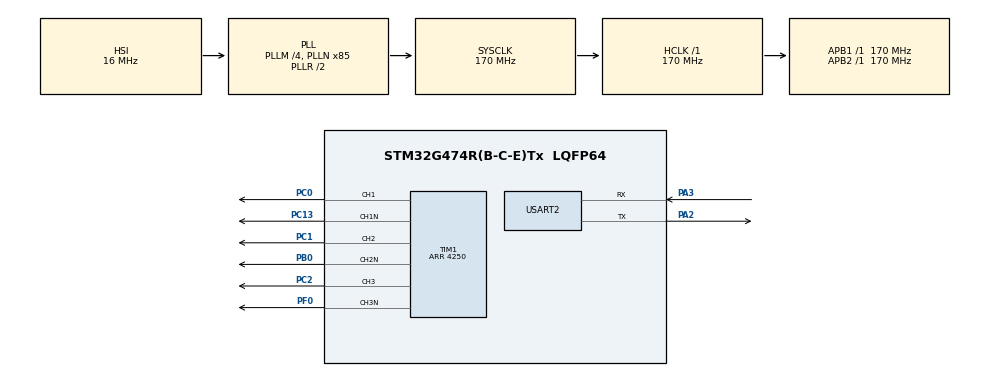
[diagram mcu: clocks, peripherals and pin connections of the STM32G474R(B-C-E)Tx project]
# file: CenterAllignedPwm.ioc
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Mcu.Family=STM32G4
Mcu.Name=STM32G474R(B-C-E)Tx
Mcu.Package=LQFP64
NVIC.PriorityGroup=NVIC_PRIORITYGROUP_4
NVIC.USART2_IRQn=true\:0\:0\:false\:false\:true\:true\:true\:true
PA2.Mode=Asynchronous
PA2.Signal=USART2_TX
PA3.Mode=Asynchronous
PA3.Signal=USART2_RX
PB0.Mode=PWM Generation2 CH2 CH2N
PB0.Signal=TIM1_CH2N
PC0.Signal=S_TIM1_CH1
PC1.Signal=S_TIM1_CH2
PC13.Mode=PWM Generation1 CH1 CH1N
PC13.Signal=TIM1_CH1N
PC2.Signal=S_TIM1_CH3
PF0-OSC_IN.Mode=PWM Generation3 CH3 CH3N
PF0-OSC_IN.Signal=TIM1_CH3N
ProjectManager.HeapSize=0x200
ProjectManager.StackSize=0x400
ProjectManager.TargetToolchain=STM32CubeIDE
RCC.ADC12Freq_Value=170000000
RCC.ADC345Freq_Value=170000000
RCC.AHBFreq_Value=170000000
RCC.APB1Freq_Value=170000000
RCC.APB1TimFreq_Value=170000000
RCC.APB2Freq_Value=170000000
RCC.APB2TimFreq_Value=170000000
RCC.CortexFreq_Value=170000000
RCC.EXTERNAL_CLOCK_VALUE=12288000
RCC.HCLKFreq_Value=170000000
RCC.HSE_VALUE=8000000
RCC.HSI48_VALUE=48000000
RCC.HSI_VALUE=16000000
RCC.LSE_VALUE=32768
RCC.PLLM=RCC_PLLM_DIV4
RCC.PLLN=85
RCC.SYSCLKFreq_VALUE=170000000
RCC.SYSCLKSource=RCC_SYSCLKSOURCE_PLLCLK
RCC.USBFreq_Value=170000000
RCC.VCOOutputFreq_Value=340000000
SH.S_TIM1_CH1.0=TIM1_CH1,PWM Generation1 CH1 CH1N
SH.S_TIM1_CH2.0=TIM1_CH2,PWM Generation2 CH2 CH2N
SH.S_TIM1_CH3.0=TIM1_CH3,PWM Generation3 CH3 CH3N
TIM1.AsymmetricalDeadTime=DISABLE
TIM1.AutoReloadPreload=TIM_AUTORELOAD_PRELOAD_ENABLE
TIM1.AutomaticOutput=TIM_AUTOMATICOUTPUT_ENABLE
TIM1.Channel-PWM\ Generation1\ CH1\ CH1N=TIM_CHANNEL_1
TIM1.Channel-PWM\ Generation2\ CH2\ CH2N=TIM_CHANNEL_2
TIM1.Channel-PWM\ Generation3\ CH3\ CH3N=TIM_CHANNEL_3
TIM1.CounterMode=TIM_COUNTERMODE_CENTERALIGNED1
TIM1.DeadTime=255
TIM1.OffStateRunMode=TIM_OSSR_ENABLE
TIM1.PeriodNoDither=4250
USART2.VirtualMode-Asynchronous=VM_ASYNC
VP_SYS_VS_DBSignals.Mode=DisableDeadBatterySignals
board=custom

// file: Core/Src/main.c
/* USER CODE BEGIN Header */
/**
  ******************************************************************************
  * @file           : main.c
  * @brief          : Main program body - FIXED VERSION
  ******************************************************************************
  */
/* USER CODE END Header */
#include "main.h"
#include <stdio.h>
#include <string.h>
#include <stdlib.h>

TIM_HandleTypeDef htim1;
UART_HandleTypeDef huart2;

/* USER CODE BEGIN PV */
uint8_t rx_buffer[1];
uint32_t DUTY_X10 = 500;      // 500 = %50.0
uint32_t FREQ = 20000;        // Frequency (Hz)
char json_buffer[256];         // Increased buffer size
char cmd_buffer[32];           // Command buffer
uint8_t cmd_index = 0;
uint32_t last_update_time = 0;

#define SYSCLK_HZ       170000000UL
#define DEADTIME_VALUE  255
#define UPDATE_INTERVAL 100     // Update every 100ms

/* USER CODE END PV */

void SystemClock_Config(void);
static void MX_GPIO_Init(void);
static void MX_TIM1_Init(void);
static void MX_USART2_UART_Init(void);
/* USER CODE BEGIN PFP */
void UpdatePWM(void);
void SendStatusJSON(void);
/* USER CODE END PFP */

int main(void)
{

  /* MCU Configuration--------------------------------------------------------*/

  /* Reset of all peripherals, Initializes the Flash interface and the Systick. */
  HAL_Init();

  /* Configure the system clock */
  SystemClock_Config();

  /* Initialize all configured peripherals */
  MX_GPIO_Init();
  MX_TIM1_Init();
  MX_USART2_UART_Init();

  /* USER CODE BEGIN 2 */
  // Start PWM channels
  HAL_TIM_PWM_Start(&htim1, TIM_CHANNEL_1);
  HAL_TIMEx_PWMN_Start(&htim1, TIM_CHANNEL_1);
  HAL_TIM_PWM_Start(&htim1, TIM_CHANNEL_2);
  HAL_TIMEx_PWMN_Start(&htim1, TIM_CHANNEL_2);
  HAL_TIM_PWM_Start(&htim1, TIM_CHANNEL_3);
  HAL_TIMEx_PWMN_Start(&htim1, TIM_CHANNEL_3);

  // Start UART interrupt reception
  HAL_UART_Receive_IT(&huart2, rx_buffer, 1);

  // Initialize PWM values
  UpdatePWM();

  // Send initial status
  HAL_Delay(500);  // Wait for serial connection
  SendStatusJSON();

  /* USER CODE END 2 */

  /* Infinite loop */
  /* USER CODE BEGIN WHILE */
  while (1)
  {
    uint32_t current_time = HAL_GetTick();

    // Send status every UPDATE_INTERVAL ms
    if (current_time - last_update_time >= UPDATE_INTERVAL) {
      SendStatusJSON();
      last_update_time = current_time;
    }

    HAL_Delay(10);  // Small delay to prevent overwhelming the CPU
    /* USER CODE END WHILE */

  }
}

/* USER CODE BEGIN 4 */

// Update PWM parameters
void UpdatePWM(void) {
    uint32_t period = (SYSCLK_HZ / (2 * FREQ)) - 1;
    uint32_t pulse = (DUTY_X10 * period) / 1000;  // % = DUTY_X10 / 10

    __HAL_TIM_SET_AUTORELOAD(&htim1, period);
    __HAL_TIM_SET_COMPARE(&htim1, TIM_CHANNEL_1, pulse);
    __HAL_TIM_SET_COMPARE(&htim1, TIM_CHANNEL_2, pulse);
    __HAL_TIM_SET_COMPARE(&htim1, TIM_CHANNEL_3, pulse);
}

// Send status as JSON
void SendStatusJSON(void) {
    uint32_t period = (SYSCLK_HZ / (2 * FREQ)) - 1;
    uint32_t ccr = (DUTY_X10 * period) / 1000;
    uint32_t duty_percent = DUTY_X10 / 10;  // Convert to percentage

    // Create JSON string - FIXED FORMAT
    int len = snprintf(json_buffer, sizeof(json_buffer),
                      "{\"ch1\":%lu,\"ch2\":%lu,\"ch3\":%lu,\"freq\":%lu,\"arr\":%lu,\"ccr\":%lu}\n",
                      duty_percent, duty_percent, duty_percent, FREQ, period, ccr);

    if (len > 0 && len < sizeof(json_buffer)) {
        HAL_UART_Transmit(&huart2, (uint8_t*)json_buffer, len, 1000);
    }
}

// UART RX Complete Callback - FIXED COMMAND PARSING
void HAL_UART_RxCpltCallback(UART_HandleTypeDef *huart)
{
    if (huart == &huart2) {
        char c = rx_buffer[0];

        // Start of new command
        if (c == 'D' || c == 'F' || c == 'd' || c == 'f') {
            cmd_index = 0;
            cmd_buffer[cmd_index++] = c;
        }
        // Digit
        else if (c >= '0' && c <= '9') {
            if (cmd_index < sizeof(cmd_buffer) - 1) {
                cmd_buffer[cmd_index++] = c;
            }
        }
        // End of command
        else if (c == '\n' || c == '\r') {
            if (cmd_index > 0) {
                cmd_buffer[cmd_index] = '\0';

                // Process command
                char cmd_type = cmd_buffer[0];
                uint32_t value = (uint32_t)strtol(cmd_buffer + 1, NULL, 10);

                if (cmd_type == 'D' || cmd_type == 'd') {
                    // Duty cycle command: D500 = 50.0%
                    if (value <= 1000) {  // Max 100.0%
                        DUTY_X10 = value;
                        UpdatePWM();
                        SendStatusJSON();  // Send immediate feedback
                    }
                }
                else if (cmd_type == 'F' || cmd_type == 'f') {
                    // Frequency command: F20000 = 20kHz
                    if (value >= 100 && value <= 50000) {
                        FREQ = value;
                        UpdatePWM();
                        SendStatusJSON();  // Send immediate feedback
                    }
                }

                cmd_index = 0;  // Reset for next command
            }
        }

        // Continue receiving
        HAL_UART_Receive_IT(&huart2, rx_buffer, 1);
    }
}

/* USER CODE END 4 */

void SystemClock_Config(void)
{
  RCC_OscInitTypeDef RCC_OscInitStruct = {0};
  RCC_ClkInitTypeDef RCC_ClkInitStruct = {0};

  /** Configure the main internal regulator output voltage
  */
  HAL_PWREx_ControlVoltageScaling(PWR_REGULATOR_VOLTAGE_SCALE1_BOOST);

  /** Initializes the RCC Oscillators according to the specified parameters
  * in the RCC_OscInitTypeDef structure.
  */
  RCC_OscInitStruct.OscillatorType = RCC_OSCILLATORTYPE_HSI;
  RCC_OscInitStruct.HSIState = RCC_HSI_ON;
  RCC_OscInitStruct.HSICalibrationValue = RCC_HSICALIBRATION_DEFAULT;
  RCC_OscInitStruct.PLL.PLLState = RCC_PLL_ON;
  RCC_OscInitStruct.PLL.PLLSource = RCC_PLLSOURCE_HSI;
  RCC_OscInitStruct.PLL.PLLM = RCC_PLLM_DIV4;
  RCC_OscInitStruct.PLL.PLLN = 85;
  RCC_OscInitStruct.PLL.PLLP = RCC_PLLP_DIV2;
  RCC_OscInitStruct.PLL.PLLQ = RCC_PLLQ_DIV2;
  RCC_OscInitStruct.PLL.PLLR = RCC_PLLR_DIV2;
  if (HAL_RCC_OscConfig(&RCC_OscInitStruct) != HAL_OK)
  {
    Error_Handler();
  }

  /** Initializes the CPU, AHB and APB buses clocks
  */
  RCC_ClkInitStruct.ClockType = RCC_CLOCKTYPE_HCLK|RCC_CLOCKTYPE_SYSCLK
                              |RCC_CLOCKTYPE_PCLK1|RCC_CLOCKTYPE_PCLK2;
  RCC_ClkInitStruct.SYSCLKSource = RCC_SYSCLKSOURCE_PLLCLK;
  RCC_ClkInitStruct.AHBCLKDivider = RCC_SYSCLK_DIV1;
  RCC_ClkInitStruct.APB1CLKDivider = RCC_HCLK_DIV1;
  RCC_ClkInitStruct.APB2CLKDivider = RCC_HCLK_DIV1;

  if (HAL_RCC_ClockConfig(&RCC_ClkInitStruct, FLASH_LATENCY_4) != HAL_OK)
  {
    Error_Handler();
  }
}

static void MX_TIM1_Init(void)
{

  TIM_MasterConfigTypeDef sMasterConfig = {0};
  TIM_OC_InitTypeDef sConfigOC = {0};
  TIM_BreakDeadTimeConfigTypeDef sBreakDeadTimeConfig = {0};

  htim1.Instance = TIM1;
  htim1.Init.Prescaler = 0;
  htim1.Init.CounterMode = TIM_COUNTERMODE_CENTERALIGNED1;
  htim1.Init.Period = 4250;
  htim1.Init.ClockDivision = TIM_CLOCKDIVISION_DIV1;
  htim1.Init.RepetitionCounter = 0;
  htim1.Init.AutoReloadPreload = TIM_AUTORELOAD_PRELOAD_ENABLE;
  if (HAL_TIM_PWM_Init(&htim1) != HAL_OK)
  {
    Error_Handler();
  }
  sMasterConfig.MasterOutputTrigger = TIM_TRGO_RESET;
  sMasterConfig.MasterOutputTrigger2 = TIM_TRGO2_RESET;
  sMasterConfig.MasterSlaveMode = TIM_MASTERSLAVEMODE_DISABLE;
  if (HAL_TIMEx_MasterConfigSynchronization(&htim1, &sMasterConfig) != HAL_OK)
  {
    Error_Handler();
  }
  sConfigOC.OCMode = TIM_OCMODE_PWM1;
  sConfigOC.Pulse = 0;
  sConfigOC.OCPolarity = TIM_OCPOLARITY_HIGH;
  sConfigOC.OCNPolarity = TIM_OCNPOLARITY_HIGH;
  sConfigOC.OCFastMode = TIM_OCFAST_DISABLE;
  sConfigOC.OCIdleState = TIM_OCIDLESTATE_RESET;
  sConfigOC.OCNIdleState = TIM_OCNIDLESTATE_RESET;
  if (HAL_TIM_PWM_ConfigChannel(&htim1, &sConfigOC, TIM_CHANNEL_1) != HAL_OK)
  {
    Error_Handler();
  }
  if (HAL_TIM_PWM_ConfigChannel(&htim1, &sConfigOC, TIM_CHANNEL_2) != HAL_OK)
  {
    Error_Handler();
  }
  if (HAL_TIM_PWM_ConfigChannel(&htim1, &sConfigOC, TIM_CHANNEL_3) != HAL_OK)
  {
    Error_Handler();
  }
  sBreakDeadTimeConfig.OffStateRunMode = TIM_OSSR_ENABLE;
  sBreakDeadTimeConfig.OffStateIDLEMode = TIM_OSSI_DISABLE;
  sBreakDeadTimeConfig.LockLevel = TIM_LOCKLEVEL_OFF;
  sBreakDeadTimeConfig.DeadTime = 255;
  sBreakDeadTimeConfig.BreakState = TIM_BREAK_DISABLE;
  sBreakDeadTimeConfig.BreakPolarity = TIM_BREAKPOLARITY_HIGH;
  sBreakDeadTimeConfig.BreakFilter = 0;
  sBreakDeadTimeConfig.BreakAFMode = TIM_BREAK_AFMODE_INPUT;
  sBreakDeadTimeConfig.Break2State = TIM_BREAK2_DISABLE;
  sBreakDeadTimeConfig.Break2Polarity = TIM_BREAK2POLARITY_HIGH;
  sBreakDeadTimeConfig.Break2Filter = 0;
  sBreakDeadTimeConfig.Break2AFMode = TIM_BREAK_AFMODE_INPUT;
  sBreakDeadTimeConfig.AutomaticOutput = TIM_AUTOMATICOUTPUT_ENABLE;
  if (HAL_TIMEx_ConfigBreakDeadTime(&htim1, &sBreakDeadTimeConfig) != HAL_OK)
  {
    Error_Handler();
  }
  HAL_TIM_MspPostInit(&htim1);

}

static void MX_USART2_UART_Init(void)
{

  huart2.Instance = USART2;
  huart2.Init.BaudRate = 115200;
  huart2.Init.WordLength = UART_WORDLENGTH_8B;
  huart2.Init.StopBits = UART_STOPBITS_1;
  huart2.Init.Parity = UART_PARITY_NONE;
  huart2.Init.Mode = UART_MODE_TX_RX;
  huart2.Init.HwFlowCtl = UART_HWCONTROL_NONE;
  huart2.Init.OverSampling = UART_OVERSAMPLING_16;
  huart2.Init.OneBitSampling = UART_ONE_BIT_SAMPLE_DISABLE;
  huart2.Init.ClockPrescaler = UART_PRESCALER_DIV1;
  huart2.AdvancedInit.AdvFeatureInit = UART_ADVFEATURE_NO_INIT;
  if (HAL_UART_Init(&huart2) != HAL_OK)
  {
    Error_Handler();
  }
  if (HAL_UARTEx_SetTxFifoThreshold(&huart2, UART_TXFIFO_THRESHOLD_1_8) != HAL_OK)
  {
    Error_Handler();
  }
  if (HAL_UARTEx_SetRxFifoThreshold(&huart2, UART_RXFIFO_THRESHOLD_1_8) != HAL_OK)
  {
    Error_Handler();
  }
  if (HAL_UARTEx_DisableFifoMode(&huart2) != HAL_OK)
  {
    Error_Handler();
  }

}

static void MX_GPIO_Init(void)
{
  /* USER CODE BEGIN MX_GPIO_Init_1 */

  /* USER CODE END MX_GPIO_Init 1 */

  /* GPIO Ports Clock Enable */
  __HAL_RCC_GPIOC_CLK_ENABLE();
  __HAL_RCC_GPIOF_CLK_ENABLE();
  __HAL_RCC_GPIOA_CLK_ENABLE();
  __HAL_RCC_GPIOB_CLK_ENABLE();

}

void Error_Handler(void)
{
  __disable_irq();
  while (1)
  {
  }
}
